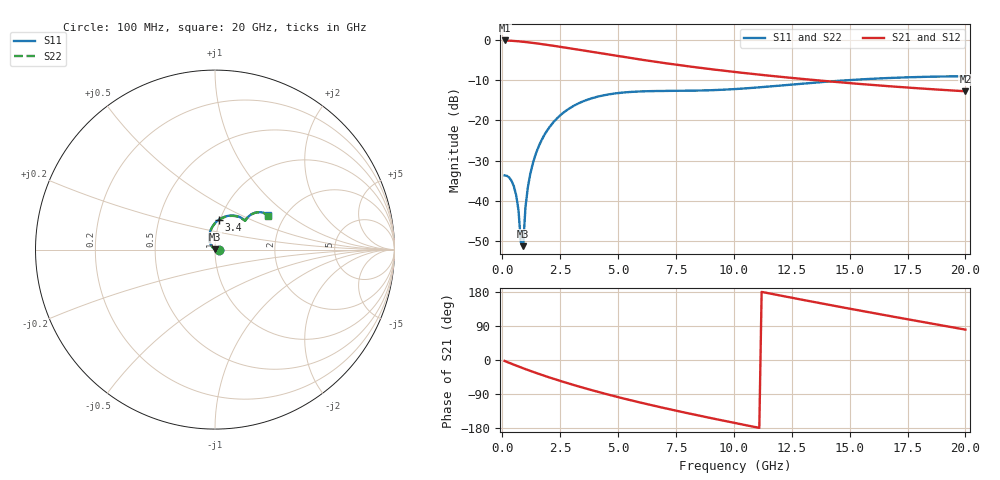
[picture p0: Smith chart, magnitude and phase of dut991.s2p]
! Touchstone file exported from HFSS 2024.1.0
!  File:  C:/UserFiles/LocalFiles/RDL_TSV_Batchsim/temp_RDL_TSV_991_1779975478.aedt
!  Generated:  09:56:41 PM May 28, 2026
!  Design:  RDL_TSV
!  Project:  temp_RDL_TSV_991_1779975478
!  Setup:  Setup1
!  Solution:  Sweep
! Variables:
!  dtsv = 12.31um
!  hbump = 3um
!  htsv = 86.44um
!  ldown = 631.91um
!  lrdl = 528.8um
!  p = 40
!  p1 = 53.47um
!  rhole = 10um
!  subl = 4010.93um
!  t = 450um
!  tdown = 2.01um
!  trdl = 3.91um
!  viad = 10um
!  wdown = 29.1um
!  wrdl = 20.67um
!  xbump = 18um
# GHz S MA R 50.000000
! Terminal data exported
! Port[1] = TM1_1_T1
! Port[2] = TM1_4_T1
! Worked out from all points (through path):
!   200 points, 100 MHz to 20 GHz, reference 50 ohm
!   highest |S21| = -0.19 dB at 100 MHz (marker M1); lowest = -12.8 dB at 20 GHz (marker M2)
!   group delay of S21, straight-line fit = 36.7 ps
!   lowest |S11| = -51.2 dB at 900 MHz (marker M3), VSWR 1.01, Z = 49.8 + j0.23 ohm
!   |S11| at or under -10 dB: start of sweep to 15.02 GHz
!   |S22| runs from -51.6 to -9.1 dB; largest |S21 - S12| = 1.1e-14
!   S11 on the Smith chart (normalised r, x): 100 MHz: 1.04, -0.00; 3.4 GHz: 0.99, +0.34; 20 GHz: 1.65, +0.72
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0.1  0.02085 -0.5  0.9783 -2.5  0.9783 -2.5  0.02085 -0.5
! Gamma 0 0 0 0
! Port Impedance 50 0 50 0
0.4  0.01785 -7.4  0.9693 -10.0  0.9693 -10.0  0.01788 -7.4
0.6  0.01182 -12.8  0.9601 -14.8  0.9601 -14.8  0.01189 -12.9
0.7  0.007717 -13.4  0.9548 -17.1  0.9548 -17.1  0.007809 -13.6
0.8  0.003106 -3.0  0.949 -19.5  0.949 -19.5  0.003217 -3.9
0.9  0.002766 123.3  0.9427 -21.8  0.9427 -21.8  0.002629 121.8
1  0.008373 137.7  0.9361 -24.0  0.9361 -24.0  0.008188 137.5
1.1  0.01456 137.8  0.9291 -26.3  0.9291 -26.3  0.01433 137.7
1.3  0.02796 133.3  0.9143 -30.7  0.9143 -30.7  0.02766 133.3
1.5  0.04232 127.7  0.8987 -35.0  0.8987 -35.0  0.04192 127.6
1.9  0.0722 116.4  0.8661 -43.3  0.8661 -43.3  0.07162 116.4
2.3  0.1016 106.0  0.8328 -51.3  0.8328 -51.3  0.1008 105.9
2.8  0.1349 94.4  0.7915 -60.8  0.7915 -60.8  0.1339 94.4
3.4  0.168 82.6  0.7432 -71.6  0.7432 -71.6  0.1667 82.5
3.5  0.1727 80.8  0.7354 -73.3  0.7354 -73.3  0.1714 80.7
5.1  0.2197 59.1  0.6206 -99.5  0.6206 -99.5  0.2178 59.0
6.8  0.2315 47.3  0.5235 -124.2  0.5235 -124.2  0.2293 47.4
8.3  0.2338 43.9  0.4574 -144.2  0.4574 -144.2  0.2316 44.1
10.1  0.2449 44.2  0.3964 -166.9  0.3964 -166.9  0.243 44.4
13.4  0.2922 43.5  0.3177 153.8  0.3177 153.8  0.2906 43.6
16.7  0.3353 38.1  0.2651 116.4  0.2651 116.4  0.3336 38.2
20  0.3529 32.7  0.2296 80.2  0.2296 80.2  0.351 32.7
